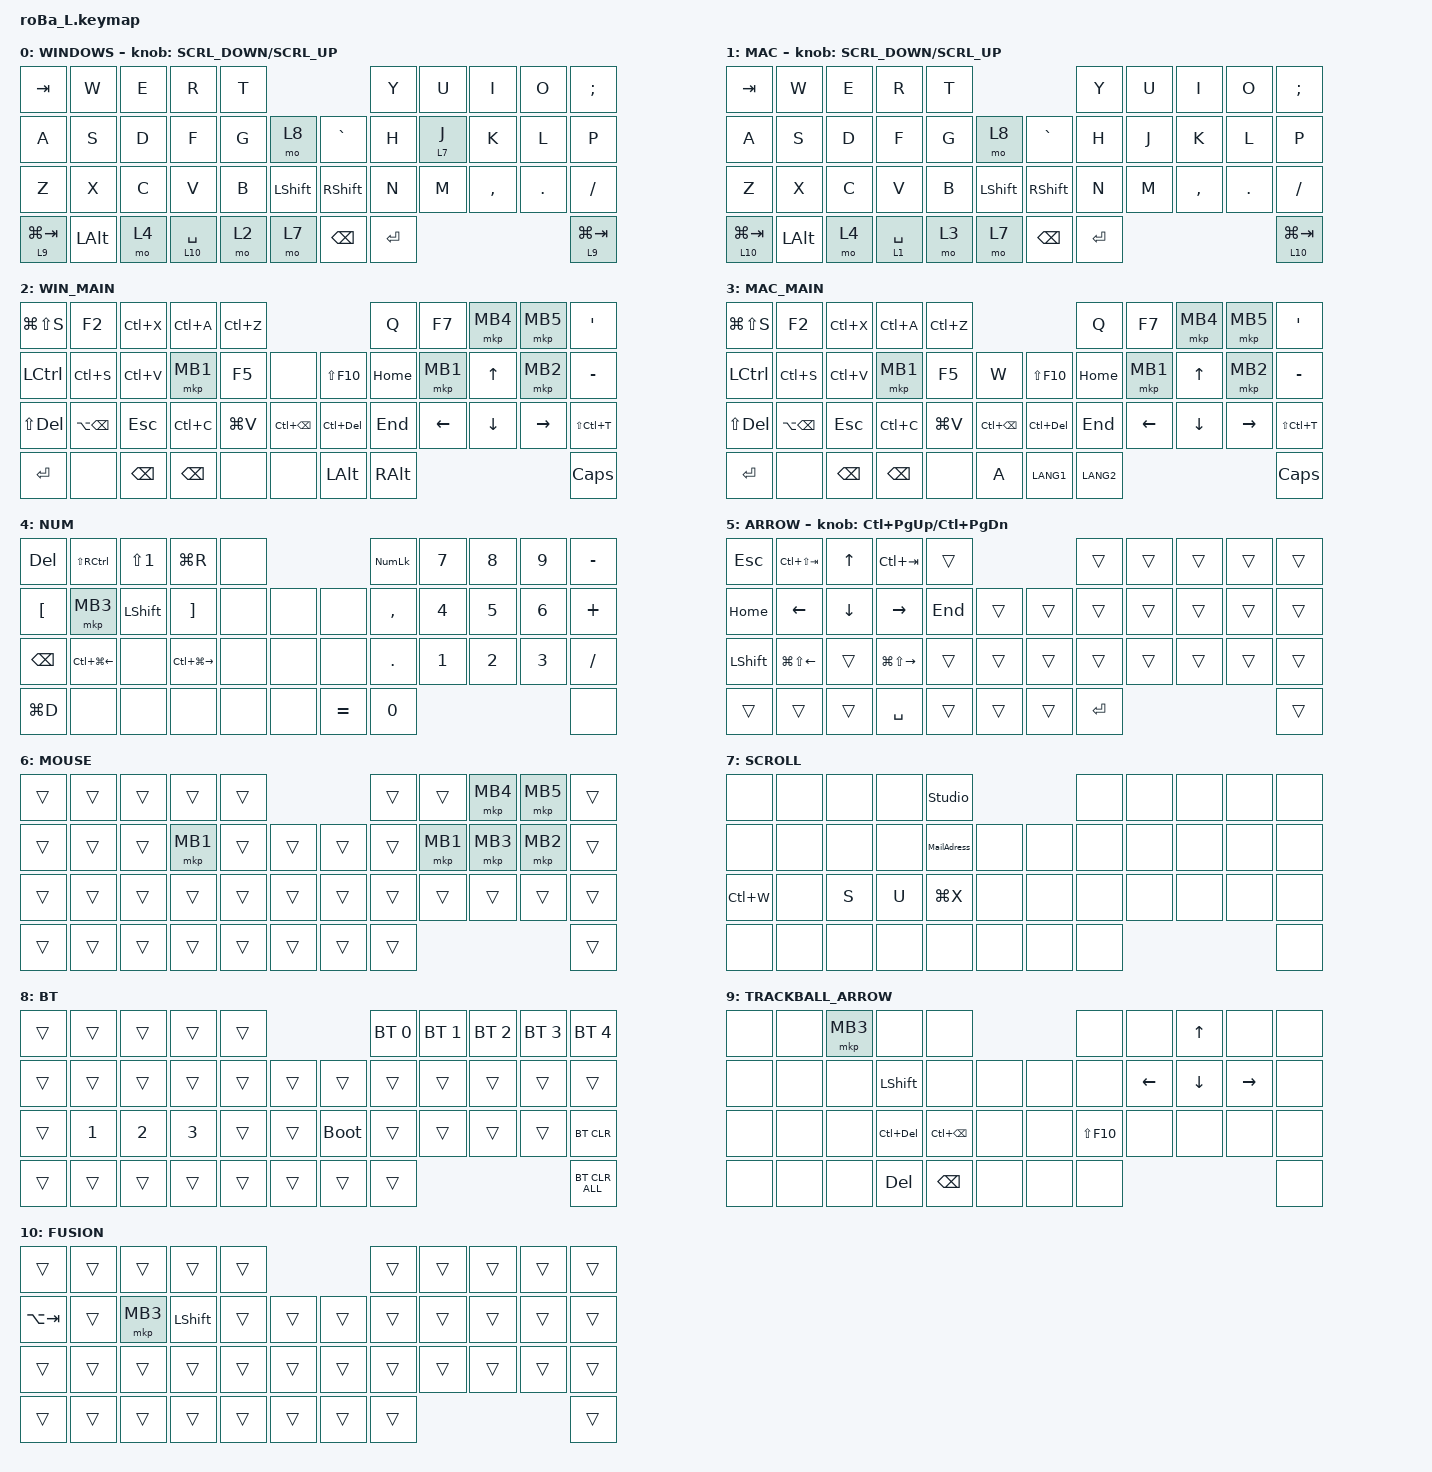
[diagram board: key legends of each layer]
#include <behaviors.dtsi>
#include <dt-bindings/zmk/bt.h>
#include <dt-bindings/zmk/keys.h>
#include <dt-bindings/zmk/pointing.h>

#define MOUSE 6
#define SCROLL 7
#define NUM 4
#define ZMK_POINTING_DEFAULT_SCRL_VAL 200

&mt {
    flavor = "balanced";
    quick-tap-ms = <0>;
};

/ {
    combos {
        compatible = "zmk,combos";

        tab {
            bindings = <&kp TAB>;
            key-positions = <11 12>;
        };

        paste {
            bindings = <&kp LS(LC(V))>;
            key-positions = <12 13>;
        };

        muhennkann {
            bindings = <&to_layer_0 INT_MUHENKAN>;
            key-positions = <11 10>;
        };

        double_quotation {
            bindings = <&kp DOUBLE_QUOTES>;
            key-positions = <20 21>;
        };

        eq {
            bindings = <&kp EQUAL>;
            key-positions = <24 25>;
        };

        bt_sel0 {
            bindings = <&bt BT_SEL 0>;
            key-positions = <6 7>;
        };

        bt_sel1 {
            bindings = <&bt BT_SEL 1>;
            key-positions = <7 8>;
        };

        combo_MB3 {
            bindings = <&mkp MB3>;
            key-positions = <13 2>;
        };

        ctrl+tab {
            bindings = <&kp LC(TAB)>;
            key-positions = <29 26>;
        };

        ctrl+shift+tab {
            bindings = <&kp LC(LS(TAB))>;
            key-positions = <28 27>;
        };

        bt_sel2 {
            bindings = <&bt BT_SEL 2>;
            key-positions = <9 8>;
        };
    };

    behaviors {
        lt_to_layer_0: lt_to_layer_0 {
            compatible = "zmk,behavior-hold-tap";
            label = "LAYER_TAP_TO_0";
            bindings = <&mo>, <&to_layer_0>;

            #binding-cells = <2>;
            tapping-term-ms = <200>;
        };

        new_behavior: new_behavior {
            compatible = "zmk,behavior-sensor-rotate-var";
            label = "NEW_BEHAVIOR";
            #sensor-binding-cells = <2>;
            bindings = <&msc>, <&msc>;

            tap-ms = <20>;
        };

        tog_on: toggle_layer_on_only {
            compatible = "zmk,behavior-toggle-layer";
            #binding-cells = <1>;
            display-name = "Toggle Layer On";
            toggle-mode = "on";
        };

        tog_off: toggle_layer_off_only {
            compatible = "zmk,behavior-toggle-layer";
            #binding-cells = <1>;
            display-name = "Toggle Layer Off";
            toggle-mode = "off";
        };
    };

    macros {
        to_layer_0: new_macro {
            compatible = "zmk,behavior-macro-one-param";
            #binding-cells = <1>;
            bindings = <&to 0 &macro_param_1to1 &kp MACRO_PLACEHOLDER>;
            label = "NEW_MACRO";
        };

        MailAdress: MailAdress {
            compatible = "zmk,behavior-macro";
            #binding-cells = <0>;
            bindings = <&none &kp K &kp A &kp S &kp P &kp I &kp N &kp I &kp N &kp G &kp AT &kp G &kp M &kp A &kp I &kp L &kp DOT &kp C &kp O &kp M>;
            label = "MAILADRESS";
        };

        bt0: bt0 {
            compatible = "zmk,behavior-macro";
            #binding-cells = <0>;
            bindings = <&tog_off 1>, <&macro_wait_time 200>, <&bt BT_SEL 0>;

            label = "BT0";
        };

        bt2: bt2 {
            compatible = "zmk,behavior-macro";
            #binding-cells = <0>;
            bindings =
                <&tog_off 1>,
                <&macro_wait_time 200>,
                <&bt BT_SEL 2>,
                <&macro_wait_time 500>,
                <&tog_on 1>;

            label = "bt2";
        };
    };

    keymap {
        compatible = "zmk,keymap";

        WINDOWS {
            bindings = <
&kp TAB        &kp W         &kp E  &kp R         &kp T                                     &kp Y      &kp U    &kp I      &kp O    &kp SEMICOLON
&kp A          &kp S         &kp D  &kp F         &kp G  &mo 8               &kp GRAVE      &kp H      &lt 7 J  &kp K      &kp L    &kp P
&kp Z          &kp X         &kp C  &kp V         &kp B  &kp LEFT_SHIFT      &kp RSHIFT     &kp N      &kp M    &kp COMMA  &kp DOT  &kp SLASH
&lt 9 LG(TAB)  &kp LEFT_ALT  &mo 4  &lt 10 SPACE  &mo 2  &mo 7               &kp BACKSPACE  &kp ENTER                               &lt 9 LG(TAB)
            >;

            sensor-bindings = <&new_behavior SCRL_DOWN SCRL_UP>;
        };

        MAC {
            bindings = <
&kp TAB         &kp W         &kp E  &kp R        &kp T                                     &kp Y      &kp U  &kp I      &kp O    &kp SEMICOLON
&kp A           &kp S         &kp D  &kp F        &kp G  &mo 8               &kp GRAVE      &kp H      &kp J  &kp K      &kp L    &kp P
&kp Z           &kp X         &kp C  &kp V        &kp B  &kp LEFT_SHIFT      &kp RSHIFT     &kp N      &kp M  &kp COMMA  &kp DOT  &kp SLASH
&lt 10 LG(TAB)  &kp LEFT_ALT  &mo 4  &lt 1 SPACE  &mo 3  &mo 7               &kp BACKSPACE  &kp ENTER                             &lt 10 LG(TAB)
            >;

            sensor-bindings = <&new_behavior SCRL_DOWN SCRL_UP>;
        };

        WIN_MAIN {
            bindings = <
&kp LG(LS(S))   &kp F2             &kp LC(X)      &kp LC(A)      &kp LC(Z)                                       &kp Q          &kp F7          &mkp MB4        &mkp MB5         &kp SQT
&kp LCTRL       &kp LC(S)          &kp LC(V)      &mkp MB1       &kp F5     &none                  &kp LS(F10)   &kp HOME       &mkp MB1        &kp UP_ARROW    &mkp MB2         &kp MINUS
&kp LS(DELETE)  &kp LA(BACKSPACE)  &kp ESCAPE     &kp LC(C)      &kp LG(V)  &kp LC(BACKSPACE)      &kp LC(DEL)   &kp END        &kp LEFT_ARROW  &kp DOWN_ARROW  &kp RIGHT_ARROW  &kp LS(LC(T))
&kp ENTER       &none              &kp BACKSPACE  &kp BACKSPACE  &none      &none                  &kp LEFT_ALT  &kp RIGHT_ALT                                                   &kp CAPSLOCK
            >;
        };

        MAC_MAIN {
            bindings = <
&kp LG(LS(S))   &kp F2             &kp LC(X)      &kp LC(A)      &kp LC(Z)                                      &kp Q      &kp F7          &mkp MB4        &mkp MB5         &kp SQT
&kp LCTRL       &kp LC(S)          &kp LC(V)      &mkp MB1       &kp F5     &kp W                  &kp LS(F10)  &kp HOME   &mkp MB1        &kp UP_ARROW    &mkp MB2         &kp MINUS
&kp LS(DELETE)  &kp LA(BACKSPACE)  &kp ESCAPE     &kp LC(C)      &kp LG(V)  &kp LC(BACKSPACE)      &kp LC(DEL)  &kp END    &kp LEFT_ARROW  &kp DOWN_ARROW  &kp RIGHT_ARROW  &kp LS(LC(T))
&kp ENTER       &none              &kp BACKSPACE  &kp BACKSPACE  &none      &kp A                  &kp LANG1    &kp LANG2                                                   &kp CAPSLOCK
            >;
        };

        NUM {
            bindings = <
&kp DELETE        &kp LS(RCTRL)           &kp LS(NUMBER_1)  &kp LG(R)                &none                        &kp KP_NUMLOCK  &kp NUMBER_7  &kp NUMBER_8  &kp NUMBER_9  &kp MINUS
&kp LEFT_BRACKET  &mkp MB3                &kp LEFT_SHIFT    &kp RIGHT_BRACKET        &none  &none      &none      &kp COMMA       &kp NUMBER_4  &kp NUMBER_5  &kp NUMBER_6  &kp PLUS
&kp BACKSPACE     &kp LC(LG(LEFT_ARROW))  &none             &kp LC(LG(RIGHT_ARROW))  &none  &none      &none      &kp PERIOD      &kp NUMBER_1  &kp NUMBER_2  &kp NUMBER_3  &kp SLASH
&kp LG(D)         &none                   &none             &none                    &none  &none      &kp EQUAL  &kp NUMBER_0                                              &none
            >;
        };

        ARROW {
            bindings = <
&kp ESCAPE      &kp LC(LS(TAB))         &kp UP_ARROW    &kp LC(TAB)              &trans                       &trans     &trans  &trans  &trans  &trans
&kp HOME        &kp LEFT_ARROW          &kp DOWN_ARROW  &kp RIGHT_ARROW          &kp END  &trans      &trans  &trans     &trans  &trans  &trans  &trans
&kp LEFT_SHIFT  &kp LG(LS(LEFT_ARROW))  &trans          &kp LG(LS(RIGHT_ARROW))  &trans   &trans      &trans  &trans     &trans  &trans  &trans  &trans
&trans          &trans                  &trans          &kp SPACE                &trans   &trans      &trans  &kp ENTER                          &trans
            >;

            sensor-bindings = <&inc_dec_kp LC(PAGE_UP) LC(PAGE_DOWN)>;
        };

        MOUSE {
            bindings = <
&trans  &trans  &trans  &trans    &trans                      &trans  &trans    &mkp MB4  &mkp MB5  &trans
&trans  &trans  &trans  &mkp MB1  &trans  &trans      &trans  &trans  &mkp MB1  &mkp MB3  &mkp MB2  &trans
&trans  &trans  &trans  &trans    &trans  &trans      &trans  &trans  &trans    &trans    &trans    &trans
&trans  &trans  &trans  &trans    &trans  &trans      &trans  &trans                                &trans
            >;
        };

        SCROLL {
            bindings = <
&none      &none  &none  &none  &studio_unlock                    &none  &none  &none  &none  &none
&none      &none  &none  &none  &MailAdress     &none      &none  &none  &none  &none  &none  &none
&kp LC(W)  &none  &kp S  &kp U  &kp LG(X)       &none      &none  &none  &none  &none  &none  &none
&none      &none  &none  &none  &none           &none      &none  &none                       &none
            >;
        };

        BT {
            bindings = <
&trans  &trans        &trans        &trans        &trans                           &bt BT_SEL 0  &bt BT_SEL 1  &bt BT_SEL 2  &bt BT_SEL 3  &bt BT_SEL 4
&trans  &trans        &trans        &trans        &trans  &trans      &trans       &trans        &trans        &trans        &trans        &trans
&trans  &kp NUMBER_1  &kp NUMBER_2  &kp NUMBER_3  &trans  &trans      &bootloader  &trans        &trans        &trans        &trans        &bt BT_CLR
&trans  &trans        &trans        &trans        &trans  &trans      &trans       &trans                                                  &bt BT_CLR_ALL
            >;
        };

        TRACKBALL_ARROW {
            bindings = <
&none  &none  &mkp MB3  &none           &none                                &none        &none           &kp UP_ARROW    &none            &none
&none  &none  &none     &kp LEFT_SHIFT  &none              &none      &none  &none        &kp LEFT_ARROW  &kp DOWN_ARROW  &kp RIGHT_ARROW  &none
&none  &none  &none     &kp LC(DELETE)  &kp LC(BACKSPACE)  &none      &none  &kp LS(F10)  &none           &none           &none            &none
&none  &none  &none     &kp DELETE      &kp BACKSPACE      &none      &none  &none                                                         &none
            >;
        };

        FUSION {
            bindings = <
&trans       &trans  &trans    &trans          &trans                      &trans  &trans  &trans  &trans  &trans
&kp LA(TAB)  &trans  &mkp MB3  &kp LEFT_SHIFT  &trans  &trans      &trans  &trans  &trans  &trans  &trans  &trans
&trans       &trans  &trans    &trans          &trans  &trans      &trans  &trans  &trans  &trans  &trans  &trans
&trans       &trans  &trans    &trans          &trans  &trans      &trans  &trans                          &trans
            >;
        };
    };
};
